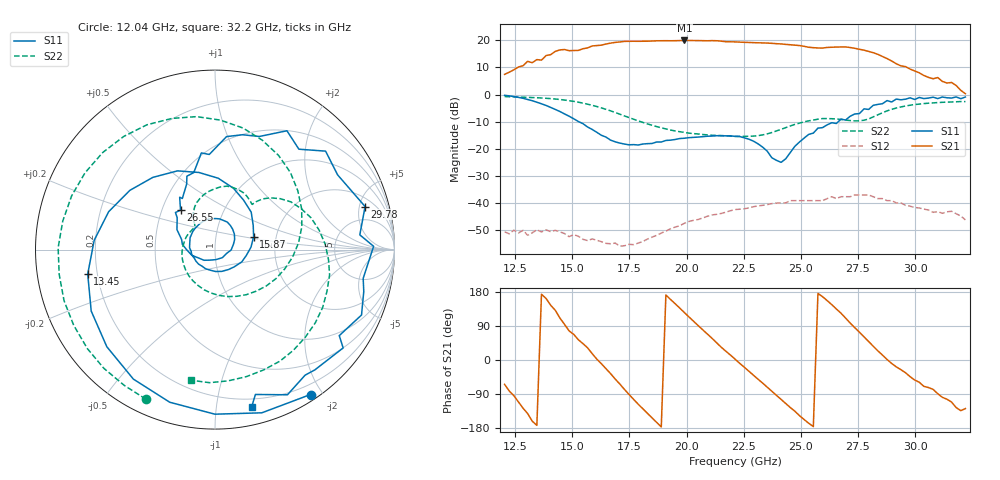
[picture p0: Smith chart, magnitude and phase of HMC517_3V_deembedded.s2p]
!Hittite Microwave Corporation
!20 Alpha Road
!Chelmsford, MA 01824
!Tel: 978-250-3343
!Fax: 978-250-3373
!Device: HMC517, 17-26 GHz, GaAs PHEMT MMIC Low Noise Amplifier Die
!Misc: Vdd1 = Vdd2 = Vdd3 = +3V, data includes two K connectors, Room
# MHZ S MA R 50
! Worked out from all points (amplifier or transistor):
!   101 points, 12.04 GHz to 32.2 GHz, reference 50 ohm
!   highest |S21| = 20.0 dB at 19.9 GHz (marker M1)
!   |S21| within 3 dB of that: 15.5 GHz to 27.42 GHz (11.92 GHz wide, 55.5 % of centre)
!   unconditionally stable (mu >= 1): start of sweep to end of sweep
!   at 15.26 GHz: K = 13.86, MAG = 19.9 dB, |S12| = -52.3 dB
!   at 22.12 GHz: K = 6.71, MAG = 19.7 dB, |S12| = -42.5 dB
!   at 32.2 GHz: K = 8.31, MAG = 11.1 dB, |S12| = -46.3 dB
!   S11 on the Smith chart (normalised r, x): 12.04 GHz: 0.07, -1.85; 13.45 GHz: 0.16, -0.09; 15.87 GHz: 1.53, +0.23; 26.55 GHz: 0.62, +0.30; 29.78 GHz: 2.88, +5.69; 32.2 GHz: 0.14, -1.25
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12035  0.967 -56.6  2.357 -64.3  0.002927 61.3  0.918 -114.8
13446.55  0.722 -169.1  4.417 -172.4  0.003193 -9.8  0.874 179.3
14454.8  0.486 115.5  6.666 110.7  0.00292 -56.6  0.81 128.9
15463.05  0.29 45.9  7.003 43.3  0.002126 -95.0  0.695 77.0
15866.35  0.227 18.6  7.892 16.9  0.002156 -111.2  0.633 56.0
16672.95  0.144 -41.8  8.892 -35.9  0.001759 -155.3  0.5 14.7
17479.55  0.118 -100.4  9.606 -90.8  0.001718 150.0  0.376 -25.6
18286.15  0.124 -148.3  9.649 -140.8  0.002146 99.5  0.287 -65.0
18891.1  0.133 -175.9  9.842 -176.6  0.00277 60.3  0.243 -95.3
19899.35  0.156 146.7  9.964 125.3  0.004193 8.6  0.2 -144.2
20907.6  0.17 114.3  9.821 68.6  0.005657 -34.7  0.18 174.4
22117.5  0.169 73.4  9.377 2.5  0.007525 -82.2  0.169 142.1
22924.1  0.138 38.4  9.084 -40.1  0.008502 -113.9  0.171 131.7
23730.7  0.068 -18.2  8.817 -82.5  0.009699 -146.0  0.199 126.4
24738.95  0.111 -157.6  8.155 -135.2  0.011 172.7  0.281 111.4
25545.55  0.194 163.3  7.334 -175.7  0.011 133.9  0.338 90.7
26553.8  0.292 131.1  7.526 134.6  0.012 93.9  0.354 63.1
27158.75  0.398 113.4  7.377 97.5  0.013 64.1  0.331 52.7
27965.35  0.531 93.4  6.256 48.7  0.014 19.4  0.354 49.2
28973.6  0.729 50.1  4.163 -9.2  0.011 -31.6  0.532 25.3
29780.2  0.87 16.0  2.952 -44.0  0.008693 -62.8  0.635 -5.1
32200  0.9 -76.9  1.035 -128.2  0.004857 -117.9  0.74 -100.2
